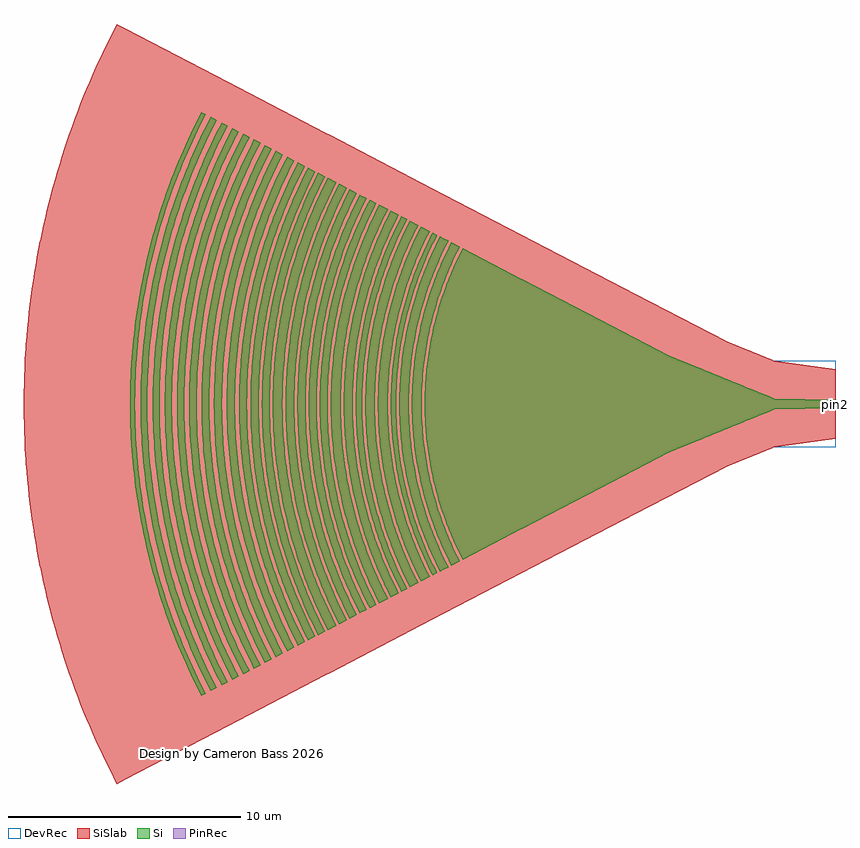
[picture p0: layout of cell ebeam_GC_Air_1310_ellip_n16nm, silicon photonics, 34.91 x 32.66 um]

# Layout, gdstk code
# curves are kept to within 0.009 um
import gdstk
lib = gdstk.Library(unit=1e-6, precision=1e-09)
def P(c, l, *ps):  # polygons
    for p in ps: c.add(gdstk.Polygon(p, *l))
Si = (1, 0)
PinRec = (1, 10)
SiSlab = (2, 0)
DevRec = (68, 0)

ebeam_gc_air_1310_ellip_ = lib.new_cell('ebeam_GC_Air_1310_ellip_n16nm')
P(ebeam_gc_air_1310_ellip_, Si, [(-16.041,-6.695),(-16.452,-5.834),(-16.769,-5.047),(-16.998,-4.379),(-17.262,-3.427),(-17.438,-2.598),(-17.565,-1.761),(-17.643,-0.917),(-17.671,-0.071),(-17.643,0.917),(-17.565,1.761),(-17.438,2.599),(-17.262,3.427),(-16.998,4.379),(-16.769,5.047),(-16.452,5.834),(-16.041,6.695),(-7.145,2.062),(-3.191,0.449),(-2.883,0.335),(-2.698,0.247),(-2.651,0.234),(0,0.175),(0,-0.175),(-2.665,-0.236),(-2.852,-0.322),(-3.206,-0.455),(-7.129,-2.055)],
  [(-16.533,-6.95),(-16.898,-6.192),(-17.235,-5.379),(-17.524,-4.548),(-17.763,-3.702),(-17.954,-2.843),(-18.094,-1.974),(-18.193,-0.953),(-18.223,-0.073),(-18.202,0.806),(-18.112,1.829),(-17.981,2.699),(-17.798,3.559),(-17.69,3.986),(-17.524,4.548),(-17.235,5.379),(-16.898,6.192),(-16.533,6.951),(-16.158,6.755),(-16.516,6.017),(-16.893,5.094),(-17.165,4.284),(-17.391,3.459),(-17.568,2.623),(-17.696,1.777),(-17.783,0.784),(-17.803,0.071),(-17.783,-0.784),(-17.696,-1.777),(-17.568,-2.622),(-17.391,-3.459),(-17.165,-4.284),(-16.893,-5.094),(-16.516,-6.017),(-16.158,-6.755)],
  [(-17.014,-7.201),(-17.392,-6.416),(-17.741,-5.574),(-18.04,-4.713),(-18.289,-3.836),(-18.485,-2.946),(-18.63,-2.046),(-18.723,-1.139),(-18.75,-0.683),(-18.764,-0.076),(-18.742,0.835),(-18.698,1.441),(-18.649,1.895),(-18.513,2.796),(-18.289,3.836),(-18.04,4.713),(-17.741,5.574),(-17.392,6.416),(-17.014,7.201),(-16.649,7.011),(-17.019,6.247),(-17.41,5.289),(-17.693,4.447),(-17.928,3.591),(-18.111,2.723),(-18.244,1.845),(-18.325,0.961),(-18.355,0.074),(-18.334,-0.813),(-18.244,-1.845),(-18.111,-2.723),(-17.928,-3.591),(-17.693,-4.447),(-17.41,-5.289),(-17.079,-6.111),(-16.649,-7.011)],
  [(-17.334,-7.368),(-17.658,-6.706),(-18.078,-5.703),(-18.384,-4.822),(-18.639,-3.925),(-18.84,-3.014),(-18.945,-2.401),(-19.008,-1.939),(-19.094,-1.01),(-19.125,-0.078),(-19.103,0.855),(-19.008,1.939),(-18.945,2.402),(-18.84,3.014),(-18.639,3.925),(-18.384,4.822),(-18.078,5.703),(-17.658,6.706),(-17.334,7.368),(-17.131,7.261),(-17.513,6.471),(-17.695,6.049),(-17.918,5.478),(-18.211,4.607),(-18.417,3.869),(-18.523,3.421),(-18.695,2.519),(-18.815,1.607),(-18.874,0.843),(-18.896,0.077),(-18.874,-0.843),(-18.815,-1.607),(-18.719,-2.366),(-18.555,-3.271),(-18.417,-3.868),(-18.297,-4.312),(-18.119,-4.899),(-17.97,-5.333),(-17.809,-5.764),(-17.575,-6.33),(-17.131,-7.261)],
  [(-17.83,-7.626),(-18.23,-6.794),(-18.599,-5.903),(-18.916,-4.991),(-19.179,-4.062),(-19.387,-3.12),(-19.541,-2.166),(-19.613,-1.526),(-19.65,-1.045),(-19.683,-0.08),(-19.659,0.885),(-19.58,1.847),(-19.445,2.803),(-19.324,3.436),(-19.217,3.906),(-18.964,4.837),(-18.656,5.752),(-18.295,6.648),(-18.027,7.233),(-17.83,7.626),(-17.451,7.428),(-17.842,6.62),(-18.201,5.751),(-18.51,4.862),(-18.767,3.958),(-18.999,2.885),(-19.139,1.955),(-19.203,1.331),(-19.235,0.862),(-19.257,0.078),(-19.235,-0.862),(-19.203,-1.331),(-19.139,-1.955),(-18.999,-2.885),(-18.804,-3.805),(-18.556,-4.713),(-18.256,-5.604),(-17.906,-6.476),(-17.451,-7.428)],
  [(-18.31,-7.876),(-18.586,-7.319),(-18.791,-6.865),(-19.163,-5.94),(-19.482,-4.995),(-19.743,-4.033),(-19.949,-3.058),(-20.099,-2.072),(-20.19,-1.08),(-20.224,-0.083),(-20.2,0.914),(-20.118,1.907),(-19.978,2.894),(-19.782,3.872),(-19.62,4.517),(-19.482,4.995),(-19.163,5.941),(-18.791,6.866),(-18.586,7.319),(-18.31,7.876),(-17.948,7.687),(-18.353,6.85),(-18.545,6.403),(-18.781,5.799),(-19.091,4.877),(-19.348,3.938),(-19.549,2.985),(-19.694,2.023),(-19.784,1.054),(-19.817,0.081),(-19.793,-0.892),(-19.713,-1.862),(-19.577,-2.826),(-19.488,-3.304),(-19.348,-3.937),(-19.091,-4.876),(-18.781,-5.799),(-18.353,-6.85),(-17.948,-7.687)],
  [(-18.672,-8.064),(-19.027,-7.338),(-19.298,-6.715),(-19.487,-6.24),(-19.822,-5.276),(-20.014,-4.624),(-20.14,-4.129),(-20.351,-3.131),(-20.504,-2.121),(-20.598,-1.105),(-20.632,-0.085),(-20.608,0.935),(-20.524,1.953),(-20.381,2.963),(-20.253,3.632),(-20.14,4.129),(-20.014,4.624),(-19.822,5.276),(-19.487,6.24),(-19.096,7.183),(-18.672,8.064),(-18.427,7.937),(-18.846,7.072),(-19.107,6.455),(-19.345,5.829),(-19.508,5.354),(-19.702,4.713),(-19.833,4.228),(-19.984,3.575),(-20.163,2.586),(-20.268,1.756),(-20.333,0.921),(-20.357,0.084),(-20.333,-0.921),(-20.268,-1.756),(-20.163,-2.586),(-20.018,-3.411),(-19.912,-3.902),(-19.747,-4.551),(-19.559,-5.194),(-19.401,-5.671),(-19.169,-6.299),(-18.98,-6.764),(-18.705,-7.376),(-18.427,-7.936)],
  [(-19.13,-8.303),(-19.567,-7.396),(-19.969,-6.425),(-20.314,-5.432),(-20.601,-4.421),(-20.827,-3.396),(-20.995,-2.358),(-21.073,-1.661),(-21.113,-1.138),(-21.149,-0.088),(-21.139,0.613),(-21.113,1.138),(-21.017,2.184),(-20.946,2.705),(-20.827,3.396),(-20.601,4.422),(-20.314,5.433),(-19.969,6.425),(-19.708,7.076),(-19.496,7.556),(-19.13,8.303),(-18.79,8.125),(-19.219,7.239),(-19.487,6.607),(-19.671,6.128),(-19.999,5.153),(-20.271,4.161),(-20.483,3.155),(-20.637,2.138),(-20.731,1.114),(-20.766,0.086),(-20.741,-0.943),(-20.657,-1.968),(-20.513,-2.986),(-20.419,-3.491),(-20.271,-4.161),(-19.999,-5.153),(-19.671,-6.128),(-19.487,-6.607),(-19.219,-7.238),(-18.79,-8.125)],
  [(-19.629,-8.563),(-20.078,-7.629),(-20.493,-6.628),(-20.848,-5.604),(-21.144,-4.561),(-21.377,-3.503),(-21.55,-2.433),(-21.66,-1.354),(-21.691,-0.813),(-21.709,-0.09),(-21.683,0.993),(-21.646,1.535),(-21.572,2.253),(-21.499,2.791),(-21.377,3.503),(-21.144,4.561),(-20.848,5.604),(-20.493,6.628),(-20.078,7.629),(-19.629,8.563),(-19.248,8.364),(-19.689,7.451),(-20.094,6.473),(-20.274,5.975),(-20.493,5.305),(-20.73,4.454),(-20.958,3.421),(-21.127,2.376),(-21.188,1.85),(-21.246,1.146),(-21.282,0.088),(-21.277,-0.441),(-21.246,-1.146),(-21.149,-2.2),(-20.991,-3.247),(-20.772,-4.283),(-20.493,-5.304),(-20.331,-5.808),(-20.094,-6.473),(-19.689,-7.451),(-19.248,-8.364)],
  [(-20.044,-8.779),(-20.506,-7.819),(-20.931,-6.793),(-21.296,-5.743),(-21.599,-4.674),(-21.838,-3.59),(-22.015,-2.493),(-22.128,-1.388),(-22.16,-0.833),(-22.178,-0.093),(-22.151,1.018),(-22.097,1.757),(-22.038,2.309),(-21.872,3.408),(-21.765,3.953),(-21.599,4.675),(-21.296,5.743),(-20.931,6.793),(-20.506,7.82),(-20.044,8.779),(-19.75,8.625),(-19.973,8.179),(-20.278,7.518),(-20.556,6.846),(-20.747,6.334),(-20.979,5.645),(-21.135,5.121),(-21.277,4.594),(-21.441,3.885),(-21.607,2.991),(-21.73,2.089),(-21.82,1.001),(-21.846,0.091),(-21.836,-0.637),(-21.767,-1.726),(-21.662,-2.63),(-21.478,-3.706),(-21.362,-4.24),(-21.184,-4.946),(-20.979,-5.644),(-20.747,-6.334),(-20.556,-6.845),(-20.278,-7.517),(-19.973,-8.179),(-19.75,-8.625)],
  [(-20.464,-8.998),(-20.862,-8.185),(-21.165,-7.49),(-21.375,-6.96),(-21.748,-5.885),(-22.059,-4.79),(-22.229,-4.051),(-22.339,-3.492),(-22.509,-2.366),(-22.614,-1.233),(-22.653,-0.095),(-22.642,0.664),(-22.614,1.233),(-22.509,2.366),(-22.339,3.492),(-22.229,4.051),(-22.059,4.79),(-21.748,5.885),(-21.375,6.96),(-20.939,8.013),(-20.464,8.998),(-20.162,8.84),(-20.552,8.044),(-20.778,7.532),(-21.056,6.841),(-21.247,6.314),(-21.422,5.784),(-21.632,5.068),(-21.773,4.526),(-21.934,3.798),(-22.095,2.879),(-22.212,1.955),(-22.284,1.025),(-22.311,0.093),(-22.293,-0.839),(-22.212,-1.955),(-22.095,-2.879),(-21.934,-3.798),(-21.773,-4.526),(-21.632,-5.068),(-21.477,-5.606),(-21.247,-6.314),(-21.056,-6.84),(-20.778,-7.532),(-20.552,-8.044),(-20.162,-8.84)],
  [(-20.899,-9.224),(-21.387,-8.21),(-21.833,-7.133),(-22.033,-6.585),(-22.216,-6.031),(-22.535,-4.909),(-22.709,-4.151),(-22.822,-3.578),(-22.997,-2.425),(-23.104,-1.263),(-23.143,-0.097),(-23.138,0.487),(-23.104,1.263),(-22.997,2.425),(-22.822,3.579),(-22.709,4.151),(-22.535,4.909),(-22.216,6.031),(-22.033,6.585),(-21.833,7.133),(-21.387,8.211),(-20.899,9.224),(-20.586,9.06),(-20.906,8.414),(-21.219,7.716),(-21.504,7.008),(-21.7,6.469),(-21.88,5.925),(-22.095,5.192),(-22.239,4.637),(-22.404,3.891),(-22.569,2.95),(-22.689,2.003),(-22.763,1.051),(-22.791,0.096),(-22.772,-0.86),(-22.708,-1.812),(-22.597,-2.761),(-22.404,-3.891),(-22.239,-4.637),(-22.095,-5.192),(-21.88,-5.925),(-21.7,-6.469),(-21.504,-7.008),(-21.219,-7.716),(-20.906,-8.414),(-20.586,-9.06)],
  [(-21.35,-9.459),(-21.599,-8.963),(-21.85,-8.42),(-22.308,-7.315),(-22.513,-6.753),(-22.701,-6.185),(-23.027,-5.034),(-23.285,-3.866),(-23.476,-2.685),(-23.545,-2.09),(-23.611,-1.295),(-23.651,-0.1),(-23.646,0.499),(-23.611,1.296),(-23.501,2.487),(-23.322,3.67),(-23.074,4.84),(-22.926,5.42),(-22.76,5.994),(-22.378,7.129),(-22.163,7.687),(-21.931,8.238),(-21.685,8.783),(-21.35,9.459),(-21.016,9.284),(-21.26,8.798),(-21.588,8.086),(-21.815,7.545),(-22.093,6.813),(-22.343,6.071),(-22.511,5.508),(-22.71,4.751),(-22.88,3.987),(-23.049,3.023),(-23.172,2.052),(-23.248,1.076),(-23.276,0.098),(-23.257,-0.881),(-23.191,-1.857),(-23.078,-2.829),(-22.88,-3.986),(-22.71,-4.751),(-22.511,-5.508),(-22.343,-6.071),(-22.093,-6.813),(-21.815,-7.545),(-21.588,-8.086),(-21.26,-8.797),(-21.016,-9.284)],
  [(-21.838,-9.712),(-22.267,-8.834),(-22.594,-8.084),(-22.82,-7.512),(-23.224,-6.352),(-23.559,-5.17),(-23.743,-4.372),(-23.861,-3.769),(-23.962,-3.163),(-24.045,-2.554),(-24.158,-1.33),(-24.188,-0.716),(-24.199,-0.102),(-24.17,1.126),(-24.069,2.351),(-23.962,3.163),(-23.861,3.769),(-23.743,4.372),(-23.607,4.971),(-23.455,5.567),(-23.284,6.156),(-23.097,6.742),(-22.892,7.321),(-22.671,7.894),(-22.433,8.461),(-22.18,9.02),(-21.838,9.713),(-21.467,9.519),(-21.972,8.475),(-22.286,7.736),(-22.503,7.175),(-22.886,6.034),(-23.204,4.872),(-23.453,3.694),(-23.633,2.503),(-23.697,1.904),(-23.743,1.304),(-23.784,0.1),(-23.765,-0.903),(-23.697,-1.904),(-23.633,-2.503),(-23.551,-3.099),(-23.377,-4.088),(-23.204,-4.872),(-23.053,-5.454),(-22.827,-6.225),(-22.638,-6.796),(-22.36,-7.55),(-22.133,-8.107),(-21.804,-8.84),(-21.467,-9.519)],
  [(-22.252,-9.928),(-22.691,-9.029),(-23.025,-8.262),(-23.257,-7.678),(-23.471,-7.089),(-23.731,-6.292),(-23.905,-5.689),(-24.061,-5.081),(-24.32,-3.852),(-24.423,-3.233),(-24.508,-2.61),(-24.624,-1.36),(-24.666,-0.105),(-24.66,0.524),(-24.636,1.151),(-24.533,2.402),(-24.454,3.026),(-24.357,3.646),(-24.242,4.264),(-24.061,5.081),(-23.905,5.689),(-23.731,6.292),(-23.539,6.891),(-23.33,7.483),(-23.104,8.069),(-22.861,8.648),(-22.602,9.219),(-22.252,9.928),(-21.955,9.773),(-22.299,9.077),(-22.555,8.514),(-22.87,7.753),(-23.087,7.173),(-23.287,6.589),(-23.526,5.8),(-23.687,5.203),(-23.873,4.399),(-23.992,3.793),(-24.093,3.182),(-24.222,2.161),(-24.302,1.133),(-24.332,0.103),(-24.302,-1.133),(-24.222,-2.161),(-24.093,-3.182),(-23.992,-3.793),(-23.873,-4.399),(-23.687,-5.203),(-23.526,-5.799),(-23.287,-6.588),(-23.087,-7.173),(-22.794,-7.944),(-22.555,-8.513),(-22.299,-9.077),(-21.955,-9.773)],
  [(-22.686,-10.154),(-23.137,-9.232),(-23.396,-8.646),(-23.716,-7.851),(-23.935,-7.248),(-24.137,-6.638),(-24.379,-5.817),(-24.538,-5.195),(-24.68,-4.569),(-24.803,-3.939),(-24.909,-3.306),(-24.996,-2.669),(-25.064,-2.03),(-25.114,-1.39),(-25.145,-0.749),(-25.157,-0.107),(-25.151,0.536),(-25.126,1.177),(-25.083,1.818),(-25.021,2.456),(-24.94,3.094),(-24.841,3.728),(-24.68,4.569),(-24.538,5.195),(-24.379,5.817),(-24.2,6.434),(-24.004,7.046),(-23.791,7.651),(-23.56,8.25),(-23.311,8.842),(-23.046,9.427),(-22.686,10.154),(-22.372,9.99),(-22.725,9.277),(-22.987,8.701),(-23.309,7.923),(-23.53,7.331),(-23.799,6.533),(-23.979,5.927),(-24.144,5.317),(-24.334,4.496),(-24.526,3.462),(-24.669,2.418),(-24.76,1.368),(-24.791,0.738),(-24.803,0.105),(-24.783,-0.948),(-24.691,-2.208),(-24.559,-3.252),(-24.334,-4.496),(-24.144,-5.317),(-23.979,-5.927),(-23.799,-6.533),(-23.53,-7.331),(-23.309,-7.923),(-22.987,-8.701),(-22.725,-9.277),(-22.372,-9.99)],
  [(-23.118,-10.379),(-23.49,-9.63),(-23.671,-9.232),(-23.931,-8.63),(-24.174,-8.02),(-24.398,-7.404),(-24.605,-6.781),(-24.793,-6.153),(-24.963,-5.519),(-25.246,-4.239),(-25.36,-3.592),(-25.455,-2.944),(-25.531,-2.292),(-25.603,-1.42),(-25.635,-0.765),(-25.647,-0.109),(-25.641,0.547),(-25.616,1.202),(-25.552,2.075),(-25.482,2.727),(-25.393,3.377),(-25.286,4.024),(-25.113,4.882),(-24.963,5.519),(-24.793,6.154),(-24.605,6.781),(-24.398,7.405),(-24.174,8.02),(-23.931,8.63),(-23.671,9.232),(-23.49,9.63),(-23.118,10.379),(-22.82,10.224),(-23.275,9.294),(-23.537,8.703),(-23.781,8.105),(-24.007,7.499),(-24.282,6.683),(-24.467,6.063),(-24.687,5.23),(-24.83,4.599),(-25.027,3.541),(-25.12,2.901),(-25.195,2.259),(-25.278,1.185),(-25.31,0.108),(-25.289,-0.97),(-25.195,-2.259),(-25.027,-3.541),(-24.83,-4.599),(-24.687,-5.23),(-24.467,-6.063),(-24.282,-6.683),(-24.007,-7.499),(-23.781,-8.105),(-23.451,-8.9),(-23.183,-9.489),(-22.82,-10.223)],
  [(-23.587,-10.624),(-23.874,-10.052),(-24.157,-9.444),(-24.423,-8.828),(-24.671,-8.204),(-24.901,-7.574),(-25.112,-6.937),(-25.305,-6.294),(-25.479,-5.646),(-25.68,-4.775),(-25.809,-4.116),(-25.92,-3.454),(-26.011,-2.789),(-26.082,-2.121),(-26.134,-1.453),(-26.167,-0.782),(-26.18,-0.112),(-26.173,0.56),(-26.147,1.23),(-26.102,1.9),(-26.011,2.789),(-25.92,3.454),(-25.809,4.116),(-25.633,4.993),(-25.479,5.646),(-25.305,6.295),(-25.112,6.937),(-24.901,7.574),(-24.671,8.204),(-24.423,8.828),(-24.157,9.445),(-23.874,10.053),(-23.587,10.624),(-23.278,10.462),(-23.558,9.904),(-23.927,9.103),(-24.183,8.494),(-24.496,7.67),(-24.71,7.045),(-24.967,6.201),(-25.192,5.349),(-25.338,4.704),(-25.54,3.621),(-25.689,2.529),(-25.752,1.871),(-25.797,1.212),(-25.829,0.11),(-25.808,-0.992),(-25.77,-1.651),(-25.712,-2.31),(-25.54,-3.621),(-25.338,-4.704),(-25.139,-5.563),(-24.967,-6.201),(-24.71,-7.044),(-24.496,-7.669),(-24.183,-8.494),(-23.927,-9.103),(-23.558,-9.904),(-23.278,-10.462)],
  [(-24.07,-10.875),(-24.563,-9.87),(-24.929,-9.031),(-25.183,-8.393),(-25.418,-7.749),(-25.634,-7.096),(-25.831,-6.439),(-26.009,-5.776),(-26.167,-5.107),(-26.348,-4.211),(-26.461,-3.533),(-26.554,-2.853),(-26.627,-2.17),(-26.68,-1.486),(-26.714,-0.8),(-26.727,-0.114),(-26.72,0.573),(-26.694,1.258),(-26.647,1.943),(-26.554,2.854),(-26.461,3.533),(-26.348,4.211),(-26.215,4.885),(-26.063,5.554),(-25.893,6.219),(-25.702,6.878),(-25.418,7.749),(-25.183,8.393),(-24.929,9.032),(-24.563,9.87),(-24.07,10.875),(-23.766,10.716),(-24.343,9.525),(-24.696,8.695),(-24.94,8.064),(-25.236,7.211),(-25.437,6.565),(-25.675,5.694),(-25.832,5.035),(-25.968,4.373),(-26.086,3.707),(-26.239,2.589),(-26.337,1.465),(-26.37,0.79),(-26.383,0.113),(-26.361,-1.015),(-26.263,-2.365),(-26.121,-3.483),(-26.01,-4.151),(-25.879,-4.815),(-25.73,-5.475),(-25.499,-6.347),(-25.305,-6.996),(-25.017,-7.851),(-24.78,-8.485),(-24.434,-9.318),(-24.056,-10.138),(-23.766,-10.716)],
  [(-24.54,-11.12),(-24.846,-10.512),(-25.142,-9.875),(-25.421,-9.231),(-25.68,-8.579),(-25.921,-7.92),(-26.142,-7.254),(-26.343,-6.582),(-26.525,-5.904),(-26.687,-5.221),(-26.829,-4.534),(-26.951,-3.842),(-27.053,-3.149),(-27.157,-2.218),(-27.212,-1.519),(-27.246,-0.818),(-27.259,-0.117),(-27.246,0.818),(-27.212,1.52),(-27.157,2.22),(-27.082,2.917),(-26.987,3.612),(-26.872,4.304),(-26.736,4.993),(-26.581,5.677),(-26.406,6.357),(-26.142,7.254),(-25.921,7.92),(-25.68,8.579),(-25.421,9.232),(-25.142,9.876),(-24.846,10.512),(-24.54,11.12),(-24.247,10.967),(-24.647,10.162),(-24.935,9.531),(-25.203,8.893),(-25.452,8.248),(-25.683,7.595),(-25.96,6.715),(-26.205,5.824),(-26.364,5.151),(-26.504,4.473),(-26.625,3.792),(-26.781,2.648),(-26.882,1.499),(-26.915,0.808),(-26.928,0.115),(-26.922,-0.576),(-26.895,-1.269),(-26.805,-2.419),(-26.725,-3.106),(-26.625,-3.792),(-26.413,-4.925),(-26.205,-5.824),(-26.024,-6.492),(-25.826,-7.156),(-25.531,-8.03),(-25.288,-8.679),(-24.935,-9.531),(-24.647,-10.162),(-24.247,-10.967)],
  [(-25.013,-11.366),(-25.327,-10.742),(-25.63,-10.092),(-25.914,-9.434),(-26.18,-8.767),(-26.425,-8.094),(-26.651,-7.413),(-26.858,-6.726),(-27.044,-6.033),(-27.208,-5.335),(-27.354,-4.633),(-27.478,-3.927),(-27.583,-3.218),(-27.666,-2.505),(-27.729,-1.791),(-27.78,-0.836),(-27.794,-0.12),(-27.787,0.598),(-27.759,1.314),(-27.71,2.03),(-27.613,2.981),(-27.515,3.692),(-27.398,4.398),(-27.259,5.103),(-27.044,6.034),(-26.858,6.727),(-26.651,7.413),(-26.425,8.094),(-26.18,8.767),(-25.914,9.434),(-25.63,10.092),(-25.327,10.742),(-25.013,11.366),(-24.727,11.217),(-25.036,10.603),(-25.336,9.962),(-25.617,9.312),(-25.961,8.434),(-26.197,7.766),(-26.481,6.866),(-26.731,5.955),(-26.894,5.267),(-27.122,4.11),(-27.231,3.41),(-27.32,2.708),(-27.389,2.003),(-27.437,1.297),(-27.471,0.118),(-27.464,-0.589),(-27.437,-1.297),(-27.345,-2.473),(-27.197,-3.643),(-27.081,-4.342),(-26.944,-5.036),(-26.731,-5.955),(-26.546,-6.638),(-26.271,-7.542),(-26.042,-8.211),(-25.706,-9.093),(-25.432,-9.745),(-25.036,-10.603),(-24.727,-11.216)],
  [(-25.475,-11.606),(-25.796,-10.968),(-26.105,-10.304),(-26.395,-9.632),(-26.666,-8.951),(-26.917,-8.264),(-27.148,-7.569),(-27.359,-6.868),(-27.549,-6.16),(-27.769,-5.21),(-27.91,-4.491),(-28.031,-3.769),(-28.13,-3.043),(-28.208,-2.315),(-28.265,-1.585),(-28.3,-0.854),(-28.315,-0.122),(-28.3,0.855),(-28.265,1.585),(-28.208,2.315),(-28.13,3.043),(-28.031,3.769),(-27.91,4.491),(-27.769,5.21),(-27.549,6.16),(-27.359,6.868),(-27.148,7.569),(-26.917,8.264),(-26.666,8.952),(-26.395,9.632),(-26.105,10.305),(-25.796,10.968),(-25.475,11.606),(-25.201,11.463),(-25.622,10.617),(-25.922,9.959),(-26.202,9.292),(-26.463,8.618),(-26.78,7.706),(-26.994,7.016),(-27.189,6.319),(-27.417,5.381),(-27.563,4.673),(-27.689,3.962),(-27.852,2.767),(-27.922,2.047),(-27.971,1.326),(-28.006,0.121),(-27.983,-1.085),(-27.941,-1.806),(-27.878,-2.527),(-27.794,-3.245),(-27.689,-3.961),(-27.468,-5.145),(-27.25,-6.085),(-27.061,-6.783),(-26.854,-7.477),(-26.546,-8.39),(-26.292,-9.068),(-25.922,-9.958),(-25.622,-10.617),(-25.201,-11.463)],
  [(-25.94,-11.848),(-26.268,-11.196),(-26.584,-10.518),(-26.88,-9.833),(-27.157,-9.138),(-27.413,-8.436),(-27.649,-7.726),(-27.864,-7.011),(-28.058,-6.288),(-28.282,-5.318),(-28.427,-4.584),(-28.549,-3.847),(-28.651,-3.106),(-28.731,-2.363),(-28.789,-1.618),(-28.825,-0.871),(-28.839,-0.125),(-28.825,0.871),(-28.789,1.618),(-28.731,2.363),(-28.651,3.107),(-28.549,3.848),(-28.427,4.584),(-28.282,5.318),(-28.058,6.288),(-27.864,7.011),(-27.649,7.726),(-27.413,8.436),(-27.157,9.138),(-26.88,9.833),(-26.584,10.518),(-26.268,11.196),(-25.94,11.849),(-25.671,11.708),(-25.995,11.065),(-26.308,10.396),(-26.601,9.717),(-26.961,8.801),(-27.207,8.104),(-27.503,7.165),(-27.764,6.215),(-27.934,5.496),(-28.172,4.288),(-28.286,3.558),(-28.379,2.826),(-28.451,2.09),(-28.501,1.354),(-28.537,0.123),(-28.529,-0.615),(-28.501,-1.354),(-28.405,-2.581),(-28.25,-3.801),(-28.129,-4.53),(-27.987,-5.255),(-27.764,-6.214),(-27.572,-6.927),(-27.284,-7.87),(-27.045,-8.568),(-26.694,-9.489),(-26.408,-10.169),(-26.102,-10.842),(-25.671,-11.708)],
  [(-26.399,-12.087),(-26.734,-11.421),(-27.056,-10.73),(-27.358,-10.03),(-27.64,-9.321),(-27.902,-8.605),(-28.142,-7.881),(-28.361,-7.151),(-28.559,-6.415),(-28.788,-5.425),(-28.936,-4.676),(-29.061,-3.925),(-29.164,-3.169),(-29.246,-2.41),(-29.305,-1.651),(-29.342,-0.889),(-29.357,-0.127),(-29.349,0.636),(-29.32,1.397),(-29.268,2.158),(-29.194,2.917),(-29.098,3.673),(-28.936,4.676),(-28.788,5.425),(-28.619,6.168),(-28.43,6.907),(-28.218,7.639),(-27.984,8.365),(-27.73,9.083),(-27.455,9.795),(-27.159,10.498),(-26.844,11.192),(-26.399,12.087),(-26.14,11.952),(-26.471,11.295),(-26.791,10.612),(-27.09,9.919),(-27.457,8.984),(-27.787,8.034),(-28.011,7.314),(-28.277,6.344),(-28.451,5.61),(-28.604,4.872),(-28.735,4.13),(-28.905,2.885),(-29.015,1.633),(-29.051,0.88),(-29.066,0.126),(-29.058,-0.628),(-29.029,-1.382),(-28.932,-2.635),(-28.844,-3.383),(-28.735,-4.13),(-28.604,-4.872),(-28.451,-5.61),(-28.277,-6.344),(-28.011,-7.313),(-27.787,-8.033),(-27.543,-8.746),(-27.278,-9.453),(-26.893,-10.381),(-26.58,-11.068),(-26.14,-11.952)],
  [(-26.869,-12.332),(-27.203,-11.666),(-27.532,-10.96),(-27.841,-10.246),(-28.128,-9.522),(-28.395,-8.79),(-28.64,-8.051),(-28.864,-7.305),(-29.065,-6.552),(-29.244,-5.794),(-29.402,-5.032),(-29.537,-4.265),(-29.683,-3.237),(-29.765,-2.462),(-29.826,-1.686),(-29.864,-0.908),(-29.879,-0.13),(-29.864,0.908),(-29.826,1.686),(-29.765,2.463),(-29.683,3.237),(-29.577,4.009),(-29.449,4.777),(-29.299,5.542),(-29.127,6.3),(-28.933,7.055),(-28.717,7.803),(-28.479,8.545),(-28.22,9.279),(-27.939,10.005),(-27.637,10.724),(-27.316,11.432),(-26.869,12.333),(-26.607,12.196),(-26.945,11.524),(-27.272,10.827),(-27.674,9.883),(-27.951,9.166),(-28.208,8.44),(-28.443,7.708),(-28.723,6.721),(-28.909,5.975),(-29.072,5.222),(-29.213,4.466),(-29.332,3.706),(-29.429,2.943),(-29.503,2.177),(-29.555,1.41),(-29.593,0.128),(-29.568,-1.154),(-29.523,-1.921),(-29.456,-2.688),(-29.295,-3.959),(-29.168,-4.719),(-29.02,-5.473),(-28.788,-6.472),(-28.587,-7.215),(-28.367,-7.953),(-28.039,-8.924),(-27.769,-9.645),(-27.376,-10.592),(-27.056,-11.293),(-26.607,-12.195)],
  [(-27.267,-12.54),(-27.615,-11.846),(-27.949,-11.129),(-28.262,-10.404),(-28.554,-9.668),(-28.811,-8.967),(-29.074,-8.175),(-29.301,-7.418),(-29.506,-6.654),(-29.687,-5.884),(-29.847,-5.11),(-29.985,-4.33),(-30.1,-3.549),(-30.217,-2.5),(-30.273,-1.793),(-30.317,-0.922),(-30.332,-0.132),(-30.324,0.659),(-30.294,1.449),(-30.24,2.239),(-30.133,3.287),(-30.026,4.071),(-29.896,4.851),(-29.743,5.627),(-29.568,6.398),(-29.372,7.164),(-29.152,7.923),(-28.911,8.677),(-28.647,9.422),(-28.362,10.16),(-28.056,10.889),(-27.729,11.609),(-27.267,12.54),(-27.086,12.445),(-27.423,11.773),(-27.756,11.062),(-28.166,10.097),(-28.449,9.364),(-28.711,8.623),(-28.951,7.875),(-29.237,6.866),(-29.426,6.104),(-29.691,4.821),(-29.82,4.045),(-29.926,3.267),(-30.01,2.485),(-30.071,1.702),(-30.109,0.917),(-30.124,0.131),(-30.099,-1.179),(-30.053,-1.963),(-29.984,-2.746),(-29.893,-3.526),(-29.779,-4.305),(-29.643,-5.078),(-29.484,-5.847),(-29.303,-6.613),(-29.099,-7.371),(-28.873,-8.125),(-28.539,-9.117),(-28.263,-9.854),(-27.862,-10.821),(-27.536,-11.537),(-27.086,-12.445)])
P(ebeam_gc_air_1310_ellip_, SiSlab, [(-30.904,-16.329),(-31.366,-15.41),(-31.801,-14.477),(-32.208,-13.533),(-32.588,-12.577),(-32.94,-11.61),(-33.264,-10.634),(-33.559,-9.648),(-33.825,-8.655),(-34.062,-7.654),(-34.27,-6.647),(-34.449,-5.634),(-34.598,-4.616),(-34.717,-3.594),(-34.807,-2.569),(-34.867,-1.543),(-34.9,-0.171),(-34.89,0.857),(-34.85,1.885),(-34.781,2.912),(-34.681,3.935),(-34.552,4.956),(-34.393,5.972),(-34.135,7.319),(-33.907,8.322),(-33.651,9.318),(-33.365,10.307),(-33.051,11.286),(-32.709,12.256),(-32.338,13.216),(-31.94,14.164),(-31.366,15.41),(-30.904,16.329),(-4.744,2.708),(-2.65,1.855),(0,1.5),(0,-1.5),(-2.65,-1.855),(-4.728,-2.7)])
P(ebeam_gc_air_1310_ellip_, DevRec, [(-30.904,-16.329),(-31.366,-15.41),(-31.801,-14.477),(-32.208,-13.533),(-32.588,-12.577),(-32.94,-11.61),(-33.264,-10.634),(-33.559,-9.648),(-33.825,-8.655),(-34.062,-7.654),(-34.27,-6.647),(-34.449,-5.634),(-34.598,-4.616),(-34.717,-3.594),(-34.807,-2.569),(-34.867,-1.543),(-34.9,-0.171),(-34.89,0.857),(-34.85,1.885),(-34.781,2.912),(-34.681,3.935),(-34.552,4.956),(-34.393,5.972),(-34.135,7.319),(-33.907,8.322),(-33.651,9.318),(-33.365,10.307),(-33.051,11.286),(-32.709,12.256),(-32.338,13.216),(-31.94,14.164),(-31.366,15.41),(-30.904,16.329),(-4.744,2.708),(-2.65,1.855),(0,1.855),(0,-1.855),(-2.65,-1.855),(-4.728,-2.7)])
ebeam_gc_air_1310_ellip_.add(gdstk.FlexPath([(-0.01,0),(0.01,0)], 0.35, ends="flush", simple_path=True, layer=1, datatype=10))  # PinRec
ebeam_gc_air_1310_ellip_.add(gdstk.Label('pin2', (0,0), layer=1, texttype=10))
ebeam_gc_air_1310_ellip_.add(gdstk.Label('Design by Cameron Bass 2026', (-25.94,-15.02), layer=10, texttype=0))

lib.write_gds('ebeam_GC_Air_1310_ellip_n16nm.gds')
